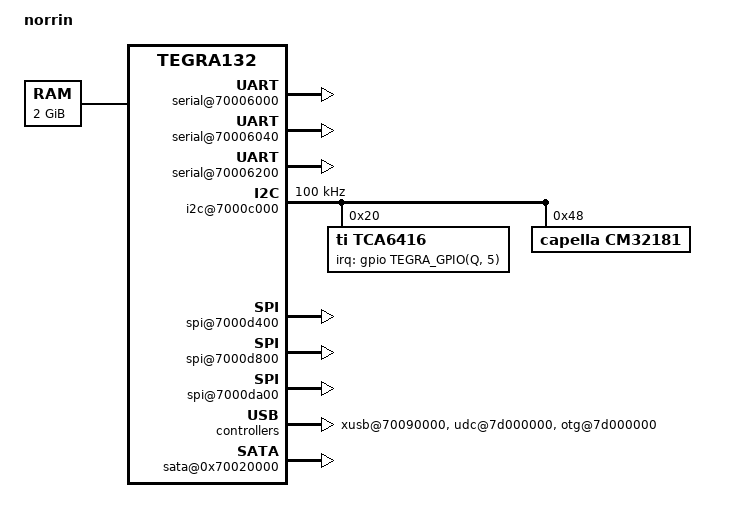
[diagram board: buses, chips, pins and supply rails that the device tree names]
#include "tegra132.dtsi"
#include "tegra124-platforms/tegra124-pm374-gpio-default.dtsi"
#include "tegra124-platforms/tegra124-pm374-pinmux.dtsi"
#include "tegra124-platforms/tegra124-norrin-keys-pm374-0000-a00.dtsi"
#include "tegra124-platforms/tegra124-norrin-fixed-pm374-0000-a00.dtsi"
#include "tegra124-platforms/tegra124-norrin-pmic-pm374-0000-a00.dtsi"
#include "tegra132-platforms/tegra132-norrin-camera-a00.dtsi"

/ {
	model = "norrin";
	compatible = "nvidia,norrin", "nvidia,tegra132";
	#address-cells = <2>;
	#size-cells = <2>;

	chosen {
		bootargs = "tegraid=40.0.0.00.00 vmalloc=256M video=tegrafb console=ttyS0,115200n8 earlyprintk";
		linux,initrd-start = <0x82080000>;
		linux,initrd-end = <0x824B5300>;
	};

	serial@70006000 {
		compatible = "nvidia,tegra114-hsuart";
		status = "okay";
	};

	serial@70006040 {
		compatible = "nvidia,tegra114-hsuart";
		status = "okay";
	};

	serial@70006200 {
		compatible = "nvidia,tegra114-hsuart";
		status = "okay";
	};

	i2c@7000c000 {
		clock-frequency = <100000>;

		tca6416: gpio@20 {
			compatible = "ti,tca6416";
			reg = <0x20>;
			interrupt-parent = <&gpio>;
			interrupts = <TEGRA_GPIO(Q, 5) 0x0>;

			#gpio-cells = <2>;
			gpio-controller;

			#interrupt-cells = <2>;
			interrupt-controller;
		};

		cm32181@48 {
			compatible = "capella,cm32181";
			reg = <0x48>;
		};
	};

	i2c@7000d000 {
		nvidia,bit-banging-xfer-after-shutdown;
	};

	memory@0x80000000 {
		device_type = "memory";
		reg = <0x0 0x80000000 0x0 0x80000000>;
	};

	spi@7000d400 {
		status = "okay";
		spi-max-frequency = <25000000>;
	};

	spi@7000d800 {
		status = "okay";
		spi-max-frequency = <25000000>;
	};

	spi@7000da00 {
		status = "okay";
		spi-max-frequency = <25000000>;
	};

	pmc@7000e400 {
		status = "okay";
		nvidia,invert-interrupt;
		nvidia,suspend-mode = <0>;
		nvidia,cpu-pwr-good-time = <2000>;
		nvidia,cpu-pwr-off-time = <2000>;
		nvidia,core-pwr-good-time = <3845 3845>;
		nvidia,core-pwr-off-time = <2000>;
		nvidia,core-power-req-active-high;
		nvidia,sys-clock-req-active-high;
	};

	dfll@70040084 {
		board-params = <&{/cpu_dfll_board_params}>;
		i2c-pmic-integration = <&{/cpu_dfll_pmic_integration}>;
		monitor-data-new-workaround;
		status = "okay";
	};

	cpu_dfll_board_params {
		sample-rate = <12500>;
		fixed-output-forcing;
		cf = <10>;
		ci = <0>;
		cg = <2>;
		droop-cut-value = <0xf>;
		droop-restore-ramp = <0x0>;
		scale-out-ramp = <0x0>;
	};

	cpu_dfll_pmic_integration {
		pmic-i2c-address = <0x80>;
		pmic-i2c-voltage-register = <0x00>;
		i2c-fs-rate = <400000>;
		sel-conversion-slope = <1>;
	};

	xusb@70090000 {
		/* nvidia,uses_external_pmic;
		nvidia,gpio_controls_muxed_ss_lanes; */
		nvidia,gpio_ss1_sata = <0>;
		nvidia,portmap = <0x703>; /* SSP0, SSP1 USB2P0, USB2P1, USBP2 */
		nvidia,ss_portmap = <0x20>; /* SSP0 on USB2P0, SSP1 on USB2P2 */
		nvidia,lane_owner = <6>; /* USB3P0 USB3P1 */
		nvidia,ulpicap = <0>; /* No ulpi support. can we remove */
		/* hsic config values in order defined in structure */
		nvidia,hsic0 = /bits/8 <0x1 0x1 0x8 0xa 0 0 1 0x22 0>;
		status = "okay";
	};

	sata@0x70020000 {
		status = "okay";
		nvidia,pexp-gpio = <&tca6416 9 0>;
		nvidia,enable-sata-port;
	};

	udc@7d000000 {
		nvidia,port_otg;
		nvidia,charging_supported;
		nvidia,id_det_type = <1>;
		#extcon-cells = <1>;
		avdd_pll_utmip-supply = <&dcdc_1v8>;
		avdd_usb-supply = <&as3722_gpio2>;
		status = "okay";
	};

	otg@7d000000 {
		nvidia,id-detection-type = <1>;
		extcon-cables = <&as3722 0>;
		extcon-cable-names = "id";
		#extcon-cells = <1>;
		usb_vbus-supply = <&usb0_vbus>;
		status = "okay";
	};

	psy_extcon {
		compatible = "power-supply-extcon";
		extcon-cables = <&udc 1 &udc 2 &udc 3
				&udc 4 &udc 5 &udc 6
				&udc 7 &udc 8 &udc 9
				&udc 10 &otg 0>;
		extcon-cable-names = "usb-charger", "ta-charger", "maxim-charger",
				"qc2-charger", "downstream-charger","fast-charger",
				"slow-charger", "apple-500ma", "apple-1a",
				"apple-2a", "y-cable";
	};
};
